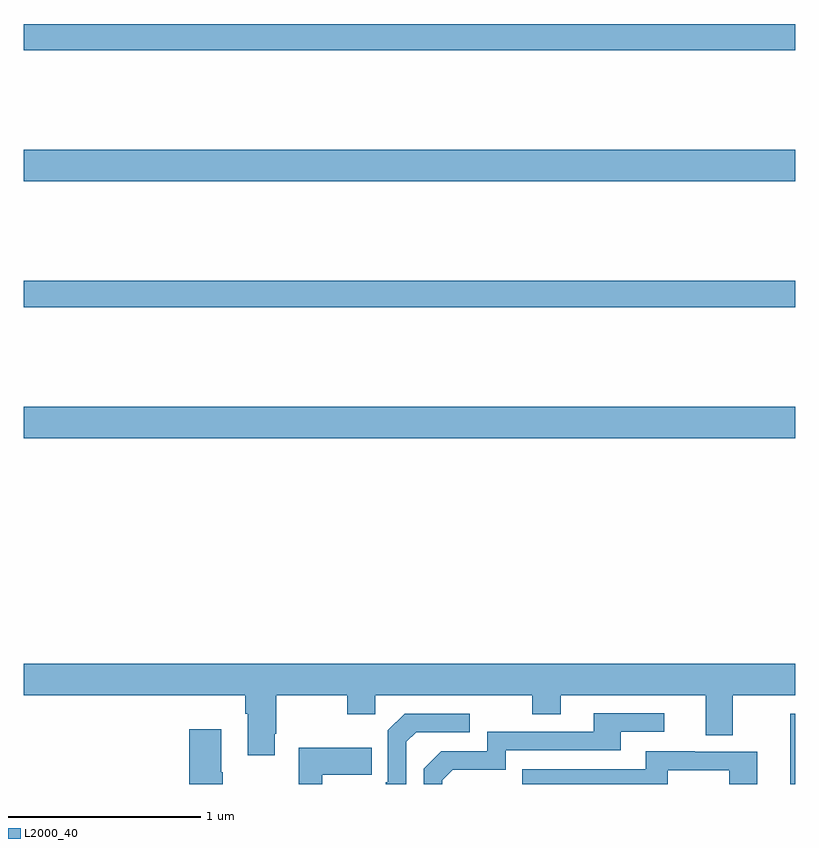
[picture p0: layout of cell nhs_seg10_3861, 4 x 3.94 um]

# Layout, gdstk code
import gdstk
lib = gdstk.Library(unit=1e-6, precision=1e-09)
def R(c, l, rs):  # rectangles x0, y0, x1, y1
    for r in rs: c.add(gdstk.rectangle(r[:2], r[2:], *l))
def P(c, l, *ps):  # polygons
    for p in ps: c.add(gdstk.Polygon(p, *l))
L2000_40 = (2000, 40)

nhs_seg10_3861 = lib.new_cell('nhs_seg10_3861')
R(nhs_seg10_3861, L2000_40, [(326.975,1322.5,327,1322.865), (323,1324.292,327,1324.456), (323,1324.972,327,1325.108), (323,1325.624,327,1325.788), (323,1326.304,327,1326.44)])
P(nhs_seg10_3861, L2000_40, [(324.301,1322.761),(324.309,1322.761),(324.309,1322.96),(324.676,1322.96),(324.676,1322.861),(324.822,1322.861),(324.822,1322.96),(325.636,1322.96),(325.636,1322.861),(325.783,1322.861),(325.783,1322.96),(326.537,1322.96),(326.537,1322.752),(326.677,1322.752),(326.677,1322.96),(327,1322.96),(327,1323.124),(323,1323.124),(323,1322.96),(324.149,1322.96),(324.149,1322.864),(324.161,1322.864),(324.161,1322.649),(324.301,1322.649)],
  [(325.17,1322.52),(325.223,1322.573),(325.5,1322.573),(325.5,1322.676),(326.095,1322.676),(326.095,1322.772),(326.32,1322.772),(326.32,1322.868),(325.955,1322.868),(325.955,1322.772),(325.404,1322.772),(325.404,1322.67),(325.164,1322.67),(325.074,1322.58),(325.074,1322.5),(325.17,1322.5)],
  [(324.984,1322.718),(325.035,1322.769),(325.312,1322.769),(325.312,1322.865),(324.975,1322.865),(324.888,1322.778),(324.888,1322.509),(324.876,1322.509),(324.876,1322.5),(324.984,1322.5)],
  [(324.033,1322.561),(324.025,1322.561),(324.025,1322.785),(323.858,1322.785),(323.858,1322.5),(324.033,1322.5)],
  [(324.547,1322.549),(324.803,1322.549),(324.803,1322.689),(324.426,1322.689),(324.426,1322.5),(324.547,1322.5)],
  [(326.34,1322.571),(326.658,1322.571),(326.658,1322.5),(326.803,1322.5),(326.803,1322.667),(326.479,1322.667),(326.479,1322.671),(326.225,1322.671),(326.225,1322.577),(325.585,1322.577),(325.585,1322.5),(326.34,1322.5)])

lib.write_gds('nhs_seg10_3861.gds')
